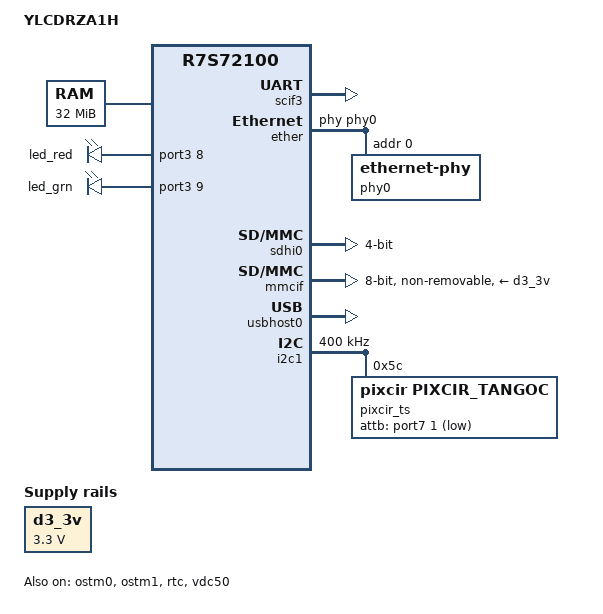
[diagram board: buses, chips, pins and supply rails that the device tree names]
/*
 * Device Tree Source for the YLCDRZA1H board
 *
 * Copyright (C) 2017 Renesas Electronics
 *
 * This file is dual-licensed: you can use it either under the terms
 * of the GPL or the X11 license, at your option. Note that this dual
 * licensing only applies to this file, and not this project as a
 * whole.
 *
 *  a) This file is free software; you can redistribute it and/or
 *     modify it under the terms of the GNU General Public License as
 *     published by the Free Software Foundation; either version 2 of the
 *     License, or (at your option) any later version.
 *
 *     This file is distributed in the hope that it will be useful,
 *     but WITHOUT ANY WARRANTY; without even the implied warranty of
 *     MERCHANTABILITY or FITNESS FOR A PARTICULAR PURPOSE.  See the
 *     GNU General Public License for more details.
 *
 * Or, alternatively,
 *
 *  b) Permission is hereby granted, free of charge, to any person
 *     obtaining a copy of this software and associated documentation
 *     files (the "Software"), to deal in the Software without
 *     restriction, including without limitation the rights to use,
 *     copy, modify, merge, publish, distribute, sublicense, and/or
 *     sell copies of the Software, and to permit persons to whom the
 *     Software is furnished to do so, subject to the following
 *     conditions:
 *
 *     The above copyright notice and this permission notice shall be
 *     included in all copies or substantial portions of the Software.
 *
 *     THE SOFTWARE IS PROVIDED "AS IS", WITHOUT WARRANTY OF ANY KIND,
 *     EXPRESS OR IMPLIED, INCLUDING BUT NOT LIMITED TO THE WARRANTIES
 *     OF MERCHANTABILITY, FITNESS FOR A PARTICULAR PURPOSE AND
 *     NONINFRINGEMENT. IN NO EVENT SHALL THE AUTHORS OR COPYRIGHT
 *     HOLDERS BE LIABLE FOR ANY CLAIM, DAMAGES OR OTHER LIABILITY,
 *     WHETHER IN AN ACTION OF CONTRACT, TORT OR OTHERWISE, ARISING
 *     FROM, OUT OF OR IN CONNECTION WITH THE SOFTWARE OR THE USE OR
 *     OTHER DEALINGS IN THE SOFTWARE.
 */


/dts-v1/;
#include "r7s72100.dtsi"
#include <dt-bindings/gpio/gpio.h>
#include <dt-bindings/pinctrl/r7s72100-pinctrl.h>

/ {
	model = "YLCDRZA1H";
	compatible = "renesas,ylcdrza1h", "renesas,r7s72100";

	aliases {
		/* It is recommended to always map the serial console as /dev/ttySC0
		 * in you system regardless of the actual SCIF channel used */
		serial0 = &scif3;
	};

	chosen {
		/* Keep extra spaces at the end in case you want to add additional command line options from u-boot */
		bootargs = "ignore_loglevel earlyprintk earlycon=scif,0xE8008000 rootfstype=axfs root=/dev/null rootflags=physaddr=0x18800000     ";
		stdout-path = "serial0:115200n8";
	};

	memory@08000000 {
		device_type = "memory";
		reg = <0x08000000 0x02000000>;	 /* 32Mbyte of External SDRAM on CS2 */
	};

	lbsc {
		#address-cells = <1>;
		#size-cells = <1>;
	};

	leds {
		status = "okay";
		compatible = "gpio-leds";

		led_red {
			gpios = <&port3 8 GPIO_ACTIVE_HIGH>;
		};

		led_grn {
			gpios = <&port3 9 GPIO_ACTIVE_HIGH>;
		};
	};

#if 0
	/* File System in XIP QSPI */
	/* Remember, we'll be in QSPI XIP mode at this point */
	/* Requires CONFIG_MTD_ROM=y */
	qspi@18000000 {
		compatible = "mtd-rom";
		probe-type = "map_rom";
		reg = <0x18000000 0x4000000>;	/* 64 MB*/
		bank-width = <4>;
		device-width = <1>;

		#address-cells = <1>;
		#size-cells = <1>;

		partition@800000 {
			label ="user";
			reg = <0x0800000 0x800000>; /* 8MB @ 0x18800000 */
			read-only;
		};
	};
#endif
};

/* EXTAL (remove if not populated) */
&extal_clk {
	clock-frequency = <13330000>;	/* 13.33MHz */
};

/* USB_X1 (remove if not populated) */
&usb_x1_clk {
	clock-frequency = <48000000>;	/* 48MHz */
};

/* RTC_X1 (remove if not populated) */
&rtc_x1_clk {
	clock-frequency = <32768>;
};

/* Define your pin settings here
 *
 * Please refer to tables 54.xx in the Hardware Manual for the correct
 * 'Alternative Mode' number for each pin. Caution: Alt Mode numbers
 * vary per pin and per device tyep (RZ/A1L,A1M,A1H)
 *
 * Syntax:
 *    pinmux = <RZA1_PINMUX(Port, Pin, Alt Mode)>
 *
 * Example:
 *    pinmux = <RZA1_PINMUX(3, 0, 6)>   /* P3_0 = TxD2 */
/*
 */
&pinctrl {

	/* Serial Console */
	scif3_pins: serial3 {
		pinmux = <RZA1_PINMUX(8, 8, 7)>,	/* TxD3 */
			 <RZA1_PINMUX(8, 9, 7)>;	/* TxD3 */
	};

	/* Ethernet Pins */
	ether_pins: ether {
		pinmux = <RZA1_PINMUX(1, 14, 4)>,	/* ET_COL   */
			 <RZA1_PINMUX(5, 9, 2)>,	/* ET_MDC   */
			 <RZA1_PINMUX(3, 3, 2)>,	/* ET_MDIO  */
			 <RZA1_PINMUX(3, 4, 2)>,	/* ET_RXCLK */
			 <RZA1_PINMUX(3, 5, 2)>,	/* ET_RXER  */
			 <RZA1_PINMUX(3, 6, 2)>,	/* ET_RXDV  */
			 <RZA1_PINMUX(2, 0, 2)>,	/* ET_TXCLK */
			 <RZA1_PINMUX(2, 1, 2)>,	/* ET_TXER  */
			 <RZA1_PINMUX(2, 2, 2)>,	/* ET_TXEN  */
			 <RZA1_PINMUX(2, 3, 2)>,	/* ET_CRS   */
			 <RZA1_PINMUX(2, 4, 2)>,	/* ET_TXD0  */
			 <RZA1_PINMUX(2, 5, 2)>,	/* ET_TXD1  */
			 <RZA1_PINMUX(2, 6, 2)>,	/* ET_TXD2  */
			 <RZA1_PINMUX(2, 7, 2)>,	/* ET_TXD3  */
			 <RZA1_PINMUX(2, 8, 2)>,	/* ET_RXD0  */
			 <RZA1_PINMUX(2, 9, 2)>,	/* ET_RXD1  */
			 <RZA1_PINMUX(2, 10, 2)>,	/* ET_RXD2  */
			 <RZA1_PINMUX(2, 11, 2)>;	/* ET_RXD3  */
	};

	/* SDHI ch0 Pins */
	sdhi0_pins: sdhi0 {
		pinmux = <RZA1_PINMUX(4, 8, 3)>,	/* SD_CD_0 */
			 <RZA1_PINMUX(4, 9, 3)>,	/* SD_WP_0 */
			 <RZA1_PINMUX(4, 10, 3)>,	/* SD_D1_0 */
			 <RZA1_PINMUX(4, 11, 3)>,	/* SD_D0_0 */
			 <RZA1_PINMUX(4, 12, 3)>,	/* SD_CLK_0 */
			 <RZA1_PINMUX(4, 13, 3)>,	/* SD_CMD_0 */
			 <RZA1_PINMUX(4, 14, 3)>,	/* SD_D3_0 */
			 <RZA1_PINMUX(4, 15, 3)>;	/* SD_D2_0 */
	};

	/* MMC Pins */
	mmc_pins: mmc {
		pinmux = <RZA1_PINMUX(3, 8, 8)>,	/* MMC_CD */
			 <RZA1_PINMUX(3, 10, 8)>,	/* MMC_D1 */
			 <RZA1_PINMUX(3, 11, 8)>,	/* MMC_D0 */
			 <RZA1_PINMUX(3, 12, 8)>,	/* MMC_CLK */
			 <RZA1_PINMUX(3, 13, 8)>,	/* MMC_CMD */
			 <RZA1_PINMUX(3, 14, 8)>,	/* MMC_D3 */
			 <RZA1_PINMUX(3, 15, 8)>,	/* MMC_D2 */
			 <RZA1_PINMUX(11, 12, 4)>,	/* MMC_D4 */
			 <RZA1_PINMUX(11, 13, 4)>,	/* MMC_D5 */
			 <RZA1_PINMUX(11, 14, 4)>,	/* MMC_D6 */
			 <RZA1_PINMUX(11, 15, 4)>;	/* MMC_D7 */
	};


	/* RIIC ch1 Pins */
	i2c1_pins: i2c1 {
		pinmux = <RZA1_PINMUX(1, 2, 1)>,	/* RIIC1SCL */
			 <RZA1_PINMUX(1, 3, 1)>,	/* RIIC1SDA */
			 <RZA1_PINMUX(1, 10, 3)>;	/* IRQ4 (for touchscreen) */
			 /* P8_13 is GPIO for pixcir reset */
	};

	/* VDC5 LCD ch 0 Pins */
	vdc50_pins: vdc50 {
		pinmux =
			/* LCD0_DATA0 to LCD0_DATA7 */
			<RZA1_PINMUX(11, 7, 5)>,/* LCD0_DATA0 */
			<RZA1_PINMUX(11, 6, 5)>,/* LCD0_DATA1 */
			<RZA1_PINMUX(11, 5, 5)>,/* LCD0_DATA2 */
			<RZA1_PINMUX(11, 4, 5)>,/* LCD0_DATA3 */
			<RZA1_PINMUX(11, 3, 5)>,/* LCD0_DATA4 */
			<RZA1_PINMUX(11, 2, 5)>,/* LCD0_DATA5 */
			<RZA1_PINMUX(11, 1, 5)>,/* LCD0_DATA6 */
			<RZA1_PINMUX(11, 0, 5)>,/* LCD0_DATA7 */

			/* LCD0_DATA8 to LCD0_DATA15 */
			<RZA1_PINMUX(4, 0, 1)>,	/* LCD0_DATA8 */
			<RZA1_PINMUX(4, 1, 1)>,	/* LCD0_DATA9 */
			<RZA1_PINMUX(4, 2, 1)>,	/* LCD0_DATA10 */
			<RZA1_PINMUX(4, 3, 1)>,	/* LCD0_DATA11 */
			<RZA1_PINMUX(4, 4, 1)>,	/* LCD0_DATA12 */
			<RZA1_PINMUX(4, 5, 1)>,	/* LCD0_DATA13 */
			<RZA1_PINMUX(4, 6, 1)>,	/* LCD0_DATA14 */
			<RZA1_PINMUX(4, 7, 1)>,	/* LCD0_DATA15 */

			/* LCD0_DATA16 to LCD0_DATA23 */
			<RZA1_PINMUX(5, 0, 3)>,	/* LCD0_DATA16 */
			<RZA1_PINMUX(5, 1, 3)>,	/* LCD0_DATA17 */
			<RZA1_PINMUX(5, 2, 3)>,	/* LCD0_DATA18 */
			<RZA1_PINMUX(5, 3, 3)>,	/* LCD0_DATA19 */
			<RZA1_PINMUX(5, 4, 3)>,	/* LCD0_DATA20 */
			<RZA1_PINMUX(5, 5, 3)>,	/* LCD0_DATA21 */
			<RZA1_PINMUX(5, 6, 3)>,	/* LCD0_DATA22 */
			<RZA1_PINMUX(5, 7, 3)>,	/* LCD0_DATA23 */

			/* TCON pins (some may not be used) */
			//<RZA1_PINMUX(11, 14, 5)>,	/* LCD0_TCON0 */
			//<RZA1_PINMUX(11, 13, 5)>,	/* LCD0_TCON1 */
			//<RZA1_PINMUX(11, 12, 5)>,	/* LCD0_TCON2 */
			//<RZA1_PINMUX(11, 11, 5)>,	/* LCD0_TCON3 */
			<RZA1_PINMUX(11, 10, 5)>,	/* LCD0_TCON4 */
			<RZA1_PINMUX(11, 9,  5)>,	/* LCD0_TCON5 */
			<RZA1_PINMUX(11, 8,  5)>,	/* LCD0_TCON6 */

			<RZA1_PINMUX(3, 0, 1)>;	/* LCD0_CLK */
	};

};

/* High resolution System tick timers */
&ostm0 {
	status = "okay";
};

&ostm1 {
	status = "okay";
};

/* The MTU2 system timer is not really needed if you are using the higher
 * resolution OSTM timer */
# if 0
&mtu2 {
	status = "okay";
};
#endif

/* Real Time Clock */
&rtc {
	status = "okay";
};

/* Serial Console */
&scif3 {
	pinctrl-names = "default";
	pinctrl-0 = <&scif3_pins>;
	status = "okay";
};

/* Ethernet */
&ether {
	pinctrl-names = "default";
	pinctrl-0 = <&ether_pins>;
	status = "okay";
	renesas,no-ether-link;
	phy-handle = <&phy0>;
	phy0: ethernet-phy@0 {
		reg = <0>;
	};
};

/* SDHI ch0 */
&sdhi0 {
	pinctrl-names = "default";
	pinctrl-0 = <&sdhi0_pins>;
	bus-width = <4>;
	status = "okay";
};

/* MMC */
/*
 * MMC devices requires a 3.3 volt regulator node.
 * Add a 3.3v "regulator-fixed" node at the root
 */
/ {
	d3_3v: regulator-d3-3v {
		compatible = "regulator-fixed";
		regulator-name = "D3.3V";
		regulator-min-microvolt = <3300000>;
		regulator-max-microvolt = <3300000>;
		regulator-boot-on;
		regulator-always-on;
	};
};
&mmcif {
	pinctrl-names = "default";
	pinctrl-0 = <&mmc_pins>;
	vmmc-supply = <&d3_3v>;
	vqmmc-supply = <&d3_3v>;
	bus-width = <8>;
	non-removable;
	status = "okay";
};

/* USB Host ch0 */
&usbhost0 {
	status = "okay";
	xtal-48mhz;
};

/* RIIC1 (Touchscreen) */
&i2c1 {
	pinctrl-names = "default";
	pinctrl-0 = <&i2c1_pins>;
	status = "okay";
	clock-frequency = <400000>;

	/* PIXCIR Capacitive Touch Sensor Controller */
	pixcir_ts@5c {
		compatible = "pixcir,pixcir_tangoc";
		reg = <0x5c>; /* I2C address = 0x5c */
		interrupts = <GIC_SPI (36-32) IRQ_TYPE_EDGE_FALLING>; /* IRQ4 */

		attb-gpio = <&port7 1 GPIO_ACTIVE_LOW>;	/* dummy, because attb pin is not hooked up */
		//reset-gpios = <&port7 1 GPIO_ACTIVE_LOW>;

		touchscreen-size-x = <1280>;
		touchscreen-size-y = <800>;
	};
};

/* LCD */
#ifdef XIP_KERNEL_WITHOUT_EXTERNAL_RAM
  #define VDC5_BPP 16 /* 16bpp or 32bpp */
  #define VDC5_FBSIZE (1280*800*VDC5_BPP/8)
  #define VDC5_FB_ADDR 0	/* 0 = allocate memory at probe (don't use when using SDRAM) */
#else
 #define VDC5_BPP 32 /* 16bpp or 32bpp */
 #define VDC5_FBSIZE (1280*800*VDC5_BPP/8)
  /* Assume we are using external SDRAM for system memory so we have all
     the internal memory just for our LCD frame buffer */
  /* Fixed allocation */
  #define VDC5_FB_ADDR (0x60000000) /* fixed address in PAGE 0 (2MB) */
#endif

&vdc50 {
	pinctrl-names = "default";
	pinctrl-0 = <&vdc50_pins>;

	display = <&display0>;
	status = "okay";

	/* Set the physical frame buffer address for internal RAM. */
	fb_phys_addr = <VDC5_FB_ADDR>;
	fb_phys_size = <VDC5_FBSIZE>;

	panel_name = "HSD070PWW1";
	panel_pixel_xres = <1280>;	/* panel native resolution */
	panel_pixel_yres = <800>;	/* panel native resolution */


	/* See 'drivers/video/fbdev/renesas/vdc5fb.h' for valid choices
	* for panel_icksel, panel_ocksel, and out_format */
	panel_icksel = <3>;	/* 3=ICKSEL_P1CLK (Peripheral clock 1) */
	panel_ocksel = <0>;	/* (don't care when lvds=0 ) */
	out_format = <0>;	/* 0=OUT_FORMAT_RGB888 */
	use_lvds = <0>;		/* Set to 0 or 1 */

	/* Define how the TCON pins going to be used */
	/* From file [ drivers/video/fbdev/renesas/vdc5fb.h ]
	 * 0 = STVA/VS (VSYNC)
	 * 1 = STVB/VE (Vertical Enable)
	 * 2 = STH/SP/HS (HSYNC)
	 * 3 = STB/LP/HE (Horizontal Enable)
	 * 4 = CPV/GCK (Gate clock signal)
	 * 5 = POLA (VCOM voltage polarity control signal)
	 * 6 = POLB (VCOM voltage polarity control signal)
	 * 7 = DE (Data Enable)
	 * 0xff = pin not used */
	tcon_sel = <
		0xff	/* TCON0: */
		0xff	/* TCON1: */
		0xff	/* TCON2: */
		0xff	/* TCON3: */
		2	/* TCON4: HSYNC */
		0	/* TCON5: VSYNC */
		7	/* TCON6: DATA ENABLE*/
		>;

	display0: display0 {
		bits-per-pixel = <VDC5_BPP>;
		bus-width = <24>;

		display-timings {
			native-mode = <&timing0>;
			timing0: timing0 {
				clock-frequency = <33325000>; /* P1 clk / 2 */
				/*clock-frequency = <71100000>;*/ /* min:64.3MHz, typ:71.1MHz, max:82MHz */
				hactive = <1280>;
				vactive = <800>;
				hback-porch = <16>;
				hfront-porch = <16>;
				vback-porch = <24>;
				vfront-porch = <1>;
				hsync-len = <160>; /* max */
				vsync-len = <23>; /* max */
				hsync-active = <1>; /* HIGH */
				vsync-active = <1>; /* HIGH */
				de-active = <0>; /* LOW */
				pixelclk-active = <0>; /* ??? */
			};
		};
	};
}; /* LCD end */

